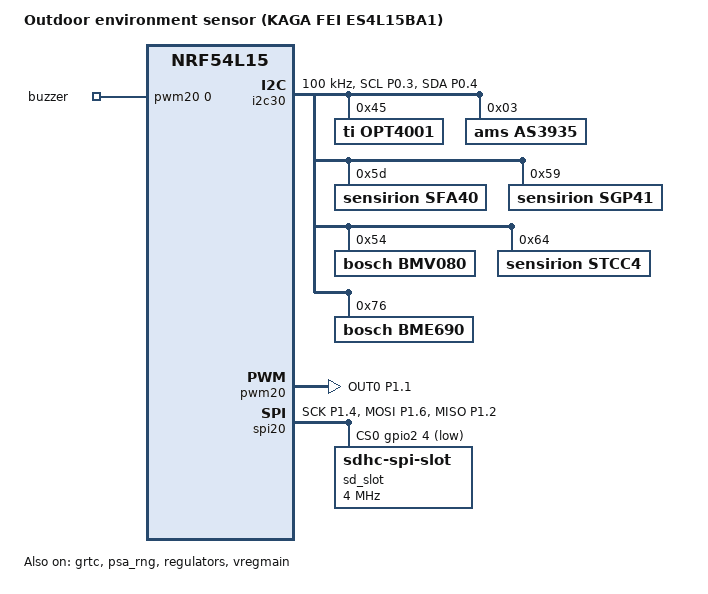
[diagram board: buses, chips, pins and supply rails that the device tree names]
/dts-v1/;

#include <nordic/nrf54l15_cpuapp.dtsi>
#include <zephyr/dt-bindings/gpio/gpio.h>
#include <zephyr/dt-bindings/i2c/i2c.h>
#include <zephyr/dt-bindings/pinctrl/nrf-pinctrl.h>
#include <zephyr/dt-bindings/pwm/pwm.h>
#include <zephyr/dt-bindings/regulator/nrf5x.h>

/ {
	model = "Outdoor environment sensor (KAGA FEI ES4L15BA1)";
	compatible = "liesegang,env-sensor-outdoor";

	chosen {
		zephyr,entropy = &psa_rng;
		zephyr,sram = &cpuapp_sram;
		zephyr,flash = &cpuapp_rram;
		zephyr,flash-controller = &rram_controller;
	};

	aliases {
		buzzer = &buzzer;
		i2c-sensors = &i2c30;
	};

	buzzers {
		compatible = "pwm-leds";

		buzzer: buzzer {
			/* Positive pulses turn on TR1 through the 180-ohm R1. */
			pwms = <&pwm20 0 PWM_HZ(2000) PWM_POLARITY_NORMAL>;
		};
	};
};

&cpuapp_sram {
	status = "okay";
};

&clock {
	status = "okay";
};

&grtc {
	owned-channels = <0 1 2 3 4 5 6 7 8 9 10 11>;
	child-owned-channels = <3 4 7 8 9 10 11>;
	status = "okay";
};

&lfxo {
	/* XL2 is the buzzer pin; enabling LFXO would steal P1.01. */
	status = "disabled";
};

&hfxo {
	/* Explicit nRF54L15 reference crystal setup for radio bring-up. */
	load-capacitors = "internal";
	load-capacitance-femtofarad = <15000>;
};

&psa_rng {
	status = "okay";
};

&regulators {
	status = "okay";
};

&vregmain {
	/* ES4L15BA1 requires DCDC; L1 (4.7 uH) is populated. */
	status = "okay";
	regulator-initial-mode = <NRF5X_REG_MODE_DCDC>;
};

&gpio0 {
	status = "okay";
};

&gpio1 {
	status = "okay";
};

&gpiote20 {
	status = "okay";
};

&gpiote30 {
	status = "okay";
};

&pinctrl {
	i2c30_default: i2c30_default {
		group1 {
			/* R5/R6 provide external 5.1-kohm pull-ups. */
			psels = <NRF_PSEL(TWIM_SCL, 0, 3)>,
				<NRF_PSEL(TWIM_SDA, 0, 4)>;
		};
	};

	i2c30_sleep: i2c30_sleep {
		group1 {
			psels = <NRF_PSEL(TWIM_SCL, 0, 3)>,
				<NRF_PSEL(TWIM_SDA, 0, 4)>;
			low-power-enable;
		};
	};

	buzzer_default: buzzer_default {
		group1 {
			psels = <NRF_PSEL(PWM_OUT0, 1, 1)>;
			/* Non-inverted PWM pins initialize low in Nordic pinctrl. */
		};
	};
};

&i2c30 {
	status = "okay";
	clock-frequency = <I2C_BITRATE_STANDARD>;
	pinctrl-0 = <&i2c30_default>;
	pinctrl-1 = <&i2c30_sleep>;
	pinctrl-names = "default", "sleep";

	opt4001: light@45 {
		compatible = "ti,opt4001";
		reg = <0x45>;
	};

	as3935: lightning@3 {
		compatible = "ams,as3935";
		/* Verify the future module's address straps; valid addresses are 1..3. */
		reg = <0x03>;
	};

	sfa40: formaldehyde@5d {
		compatible = "sensirion,sfa40";
		reg = <0x5d>;
	};

	sgp41: gas@59 {
		compatible = "sensirion,sgp41";
		reg = <0x59>;
	};

	bmv080: particulate@54 {
		compatible = "bosch,bmv080";
		reg = <0x54>;
	};

	stcc4: co2@64 {
		compatible = "sensirion,stcc4";
		reg = <0x64>;
		measurement-mode = <0>;
	};

	bme690: environment@76 {
		compatible = "bosch,bme690";
		reg = <0x76>;
	};
};

&pwm20 {
	status = "okay";
	pinctrl-0 = <&buzzer_default>;
	pinctrl-names = "default";
};

&pinctrl {
	sd_spi_default: sd_spi_default {
		group1 { psels = <NRF_PSEL(SPIM_SCK, 1, 4)>, <NRF_PSEL(SPIM_MOSI, 1, 6)>; };
		group2 { psels = <NRF_PSEL(SPIM_MISO, 1, 2)>; bias-pull-up; };
	};
	sd_spi_sleep: sd_spi_sleep {
		group1 {
			psels = <NRF_PSEL(SPIM_SCK, 1, 4)>, <NRF_PSEL(SPIM_MOSI, 1, 6)>, <NRF_PSEL(SPIM_MISO, 1, 2)>;
			low-power-enable;
		};
	};
};

&spi20 {
	status = "okay";
	pinctrl-0 = <&sd_spi_default>;
	pinctrl-1 = <&sd_spi_sleep>;
	pinctrl-names = "default", "sleep";
	cs-gpios = <&gpio2 4 GPIO_ACTIVE_LOW>;
	sd_slot: sd@0 {
		compatible = "zephyr,sdhc-spi-slot";
		reg = <0>;
		spi-max-frequency = <4000000>;
		sd_card: sd { compatible = "zephyr,sdmmc-disk"; disk-name = "SD"; };
	};
};

&gpio2 { status = "okay"; };

&uicr {
	/* P1.02 is the SD MISO input; disable NFC pad protection. */
	nfct-pins-as-gpios;
};
